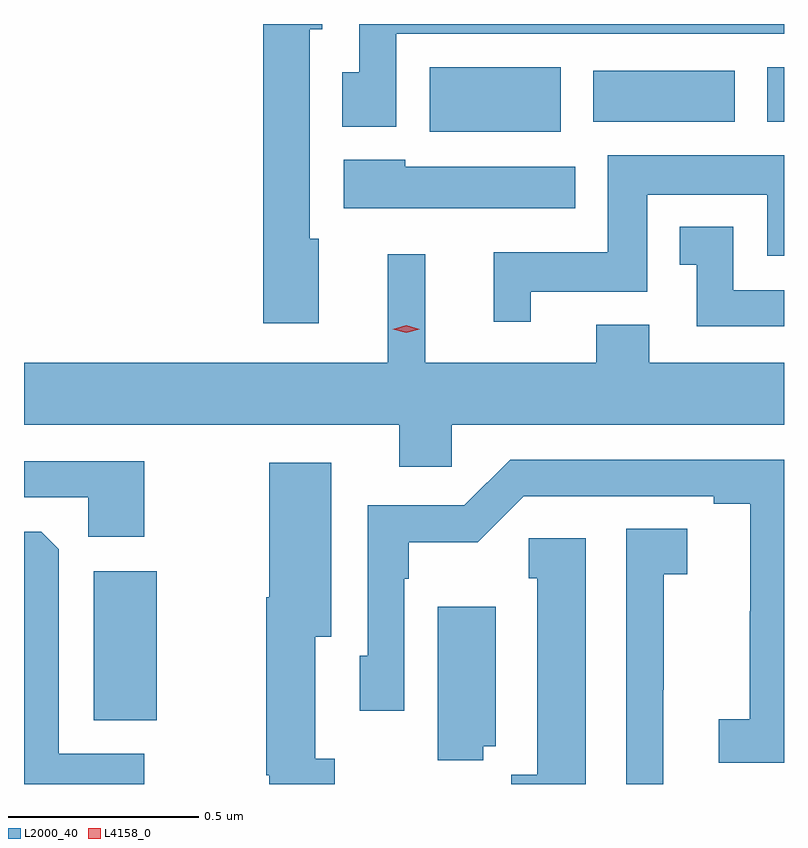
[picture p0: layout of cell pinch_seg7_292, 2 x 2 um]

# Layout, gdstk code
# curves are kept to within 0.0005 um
import gdstk
lib = gdstk.Library(unit=1e-6, precision=1e-09)
def R(c, l, rs):  # rectangles x0, y0, x1, y1
    for r in rs: c.add(gdstk.rectangle(r[:2], r[2:], *l))
def P(c, l, *ps):  # polygons
    for p in ps: c.add(gdstk.Polygon(p, *l))
L2000_40 = (2000, 40)
L4158_0 = (4158, 0)

pinch_seg7_292 = lib.new_cell('pinch_seg7_292')
R(pinch_seg7_292, L2000_40, [(533.198,1054.451,533.364,1054.843), (534.083,1055.999,534.427,1056.169), (534.513,1056.026,534.886,1056.16), (534.971,1056.026,535.015,1056.169)])
P(pinch_seg7_292, L2000_40, [(533.791,1055.718),(533.767,1055.718),(533.767,1056.269),(533.8,1056.269),(533.8,1056.283),(533.645,1056.283),(533.645,1055.496),(533.791,1055.496)],
  [(533.994,1056.257),(535.015,1056.257),(535.015,1056.283),(533.897,1056.283),(533.897,1056.156),(533.852,1056.156),(533.852,1056.012),(533.994,1056.012)],
  [(534.349,1055.579),(534.655,1055.579),(534.655,1055.834),(534.971,1055.834),(534.971,1055.673),(535.015,1055.673),(535.015,1055.938),(534.551,1055.938),(534.551,1055.683),(534.251,1055.683),(534.251,1055.499),(534.349,1055.499)],
  [(534.466,1055.908),(534.018,1055.908),(534.018,1055.926),(533.856,1055.926),(533.856,1055.798),(534.466,1055.798)],
  [(535.015,1055.583),(534.882,1055.583),(534.882,1055.749),(534.74,1055.749),(534.74,1055.649),(534.786,1055.649),(534.786,1055.487),(535.015,1055.487)],
  [(534.141,1055.228),(535.015,1055.228),(535.015,1055.392),(534.661,1055.392),(534.661,1055.491),(534.521,1055.491),(534.521,1055.392),(534.071,1055.392),(534.071,1055.677),(533.972,1055.677),(533.972,1055.392),(533.015,1055.392),(533.015,1055.228),(534.002,1055.228),(534.002,1055.118),(534.141,1055.118)],
  [(535.015,1055.136),(534.294,1055.136),(534.174,1055.016),(533.919,1055.016),(533.919,1054.62),(533.898,1054.62),(533.898,1054.476),(534.015,1054.476),(534.015,1054.823),(534.028,1054.823),(534.028,1054.919),(534.209,1054.919),(534.33,1055.04),(534.83,1055.04),(534.83,1055.02),(534.926,1055.02),(534.925,1054.454),(534.843,1054.454),(534.843,1054.339),(535.015,1054.339)],
  [(533.331,1055.133),(533.015,1055.133),(533.015,1055.037),(533.184,1055.037),(533.184,1054.934),(533.331,1054.934)],
  [(533.833,1054.35),(533.782,1054.35),(533.782,1054.67),(533.824,1054.67),(533.824,1055.128),(533.66,1055.128),(533.66,1054.774),(533.653,1054.774),(533.653,1054.306),(533.66,1054.306),(533.66,1054.283),(533.833,1054.283)],
  [(534.697,1054.531),(534.699,1054.531),(534.699,1054.835),(534.76,1054.835),(534.76,1054.955),(534.6,1054.955),(534.6,1054.283),(534.697,1054.283)],
  [(533.332,1054.363),(533.107,1054.363),(533.107,1054.79),(533.106,1054.79),(533.106,1054.901),(533.06,1054.947),(533.015,1054.947),(533.015,1054.283),(533.332,1054.283)],
  [(534.493,1054.93),(534.343,1054.93),(534.343,1054.824),(534.365,1054.824),(534.365,1054.308),(534.297,1054.308),(534.297,1054.283),(534.493,1054.283)],
  [(534.224,1054.382),(534.256,1054.382),(534.256,1054.75),(534.104,1054.75),(534.104,1054.345),(534.224,1054.345)])
P(pinch_seg7_292, L4158_0, [(534.021,1055.47),(533.985,1055.48),(533.985,1055.48),(533.985,1055.48),(534.021,1055.49),(534.057,1055.48),(534.057,1055.48),(534.057,1055.48)])

lib.write_gds('pinch_seg7_292.gds')
